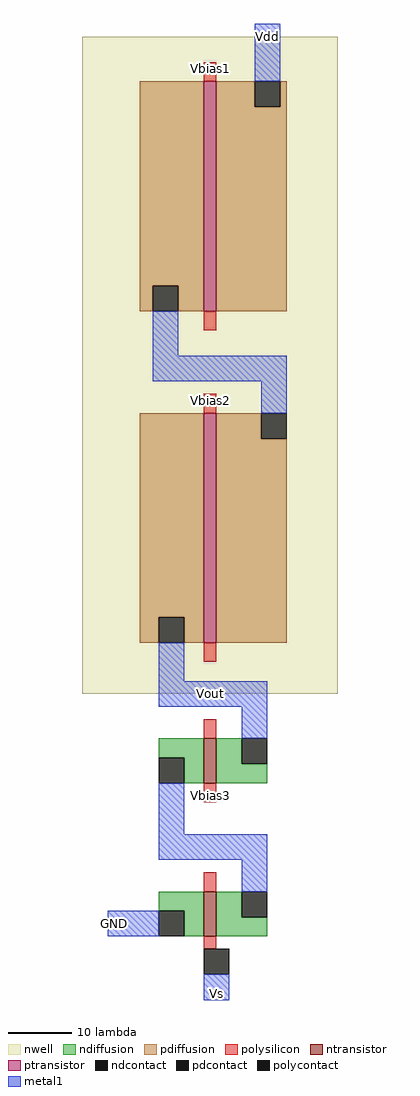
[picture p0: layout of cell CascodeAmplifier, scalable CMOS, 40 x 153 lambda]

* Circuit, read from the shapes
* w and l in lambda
.subckt CascodeAmplifier GND Vbias1 Vbias2 Vbias3 Vdd Vout Vs
M1 n1 Vs GND VSUBS nfet w=7 l=2
M2 Vout Vbias3 n1 VSUBS nfet w=7 l=2
M3 n2 Vbias2 Vout n3 pfet w=36 l=2
M4 Vdd Vbias1 n2 n3 pfet w=36 l=2
.ends

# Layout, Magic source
magic
tech scmos
<< nwell >>
rect -20 9 20 112
<< ntransistor >>
rect -1 -5 1 2
rect -1 -29 1 -22
<< ptransistor >>
rect -1 69 1 105
rect -1 17 1 53
<< ndiffusion >>
rect -8 -1 -1 2
rect -4 -5 -1 -1
rect 1 -2 5 2
rect 1 -5 9 -2
rect -8 -25 -1 -22
rect -4 -29 -1 -25
rect 1 -26 5 -22
rect 1 -29 9 -26
<< pdiffusion >>
rect -11 73 -1 105
rect -11 69 -9 73
rect -5 69 -1 73
rect 1 101 7 105
rect 11 101 12 105
rect 1 69 12 101
rect -11 21 -1 53
rect -11 17 -8 21
rect -4 17 -1 21
rect 1 49 8 53
rect 1 17 12 49
<< ndcontact >>
rect -8 -5 -4 -1
rect 5 -2 9 2
rect -8 -29 -4 -25
rect 5 -26 9 -22
<< pdcontact >>
rect -9 69 -5 73
rect 7 101 11 105
rect -8 17 -4 21
rect 8 49 12 53
<< polysilicon >>
rect -1 105 1 108
rect -1 66 1 69
rect -1 53 1 56
rect -1 14 1 17
rect -1 2 1 5
rect -1 -8 1 -5
rect -1 -22 1 -19
rect -1 -31 1 -29
<< polycontact >>
rect -1 -35 3 -31
<< metal1 >>
rect 7 105 11 114
rect -9 62 -5 69
rect -9 58 12 62
rect 8 53 12 58
rect -8 11 -4 17
rect -8 7 9 11
rect 5 2 9 7
rect -8 -13 -4 -5
rect -8 -17 9 -13
rect 5 -22 9 -17
rect -16 -29 -8 -25
rect -1 -39 3 -35
<< labels >>
rlabel polysilicon 0 107 0 107 5 Vbias1
rlabel metal1 9 112 9 112 6 Vdd
rlabel polysilicon 0 55 0 55 1 Vbias2
rlabel metal1 0 9 0 9 1 Vout
rlabel polysilicon 0 -7 0 -7 1 Vbias3
rlabel metal1 -15 -27 -15 -27 3 GND
rlabel metal1 1 -38 1 -38 1 Vs
<< end >>
